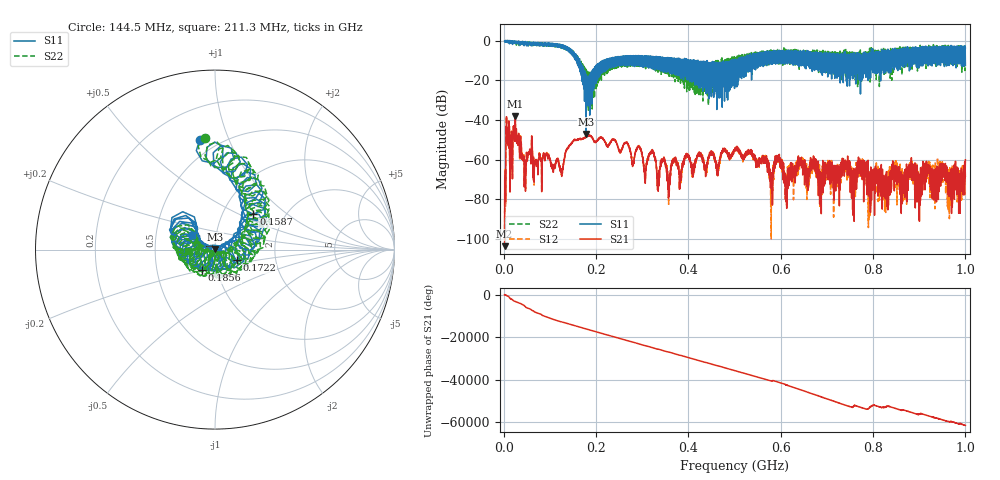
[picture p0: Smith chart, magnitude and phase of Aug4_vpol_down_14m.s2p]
!Keysight Technologies N9923A: A.12.45
!Date: Tuesday, 05 August 2025 20:36:24
!Timezone: (UTC+08:00) Kuala Lumpur, Singapore
!Model: N9923A
!Serial: MY61181427
!GPS Latitude:
!GPS Longitude:
!GPS TimeStamp: 0001-01-01 00:00:00Z
!GPS Seconds Since Last Read: 0
!CHECKSUM:0880685954
!Correction: S11(ON U)S21(ON U)S12(ON U)S22(ON U)
!S2P File: Measurements:S11,S21,S12,S22:
# Hz S DB R 50
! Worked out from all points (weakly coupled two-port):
!   4001 points, 2 MHz to 1 GHz, reference 50 ohm
!   highest |S21| = -38.10 dB at 25.2 MHz (marker M1); lowest = -103.7 dB at 2 MHz (marker M2)
!   lowest |S11| = -47.0 dB at 178.4 MHz (marker M3), VSWR 1.01, Z = 49.9 + j0.421 ohm
!   |S11| at or under -10 dB: 163 MHz to 215.5 MHz (52.56 MHz wide, 27.8 % of centre); 400.5 MHz to 403.6 MHz (3.094 MHz wide, 0.769 % of centre); 420.7 MHz to 494 MHz (73.32 MHz wide, 16 % of centre)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
!   |S22| runs from -35.0 to 0.1 dB; largest |S21 - S12| = 0.0011
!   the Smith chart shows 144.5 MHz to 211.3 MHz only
!   S11 on the Smith chart (normalised r, x): 144.5 MHz: 0.40, +0.79; 158.7 MHz: 1.39, +0.60; 172.2 MHz: 1.27, -0.16; 185.6 MHz: 0.84, -0.20; 211.3 MHz: 0.76, +0.12
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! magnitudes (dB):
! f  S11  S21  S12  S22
! 2 MHz  -0.1  -103.7  -95.5  -0.1
! 9.735 MHz  -0.1  -48.3  -48.1  -0.1
! 25.2 MHz  -0.2  -38.1  -37.9  -1.1
! 46.66 MHz  -0.7  -73.0  -71.1  -0.8
! 125 MHz  -3.6  -67.1  -66.1  -3.7
! 144.5 MHz  -4.2  -52.5  -52.3  -4.1
! 158.7 MHz  -10.7  -50.0  -50.0  -10.4
! 168.4 MHz  -17.7  -49.6  -49.6  -15.3
! 172.2 MHz  -17.3  -49.3  -49.1  -16.3
! 178.4 MHz  -47.0  -48.6  -48.6  -22.4
! 185.6 MHz  -17.3  -47.7  -47.7  -17.2
! 211.3 MHz  -16.4  -48.8  -48.6  -16.5
! 306.1 MHz  -8.2  -68.8  -69.0  -10.0
! 321.6 MHz  -7.9  -55.0  -55.9  -8.4
! 334.8 MHz  -8.2  -75.1  -72.8  -10.4
! 501 MHz  -9.7  -54.9  -55.7  -9.1
! 580.1 MHz  -6.4  -66.7  -71.0  -4.9
! 595.1 MHz  -5.3  -61.1  -60.6  -6.6
! 612.8 MHz  -9.6  -71.2  -83.1  -8.8
! 667.4 MHz  -6.1  -60.0  -59.8  -7.1
! 833.8 MHz  -6.7  -68.7  -67.5  -13.9
! 1 GHz  -12.4  -60.1  -68.8  -3.9
